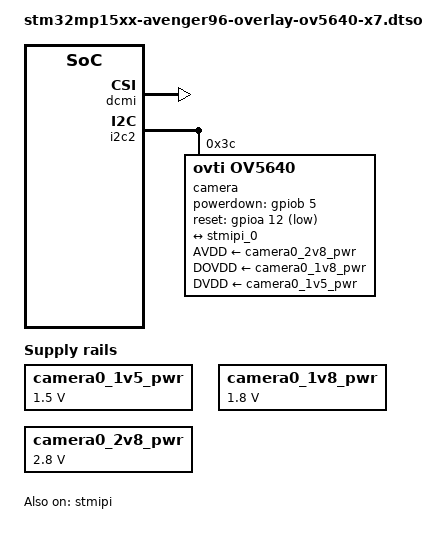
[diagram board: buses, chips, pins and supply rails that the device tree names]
// SPDX-License-Identifier: (GPL-2.0+ OR BSD-3-Clause)
/*
 * Copyright (C) 2020 Marek Vasut
 */
#include <dt-bindings/clock/stm32mp1-clks.h>
#include <dt-bindings/gpio/gpio.h>

/dts-v1/;
/plugin/;

&{/} {
	camera0_1v5_pwr: regulator-camera0-1v5 {
		compatible = "regulator-fixed";
		regulator-name = "camera0-1v5-reg";
		regulator-min-microvolt = <1500000>;
		regulator-max-microvolt = <1500000>;
		regulator-always-on;
	};

	camera0_1v8_pwr: regulator-camera0-1v8 {
		compatible = "regulator-fixed";
		regulator-name = "camera0-1v8-reg";
		regulator-min-microvolt = <1800000>;
		regulator-max-microvolt = <1800000>;
		regulator-always-on;
	};

	camera0_2v8_pwr: regulator-camera0-2v8 {
		compatible = "regulator-fixed";
		regulator-name = "camera0-2v8-reg";
		regulator-min-microvolt = <2800000>;
		regulator-max-microvolt = <2800000>;
		regulator-always-on;
	};
};

&dcmi {
	status = "okay";
};

&dcmi_0 {
	hsync-active = <0>;
	vsync-active = <0>;
	pclk-sample = <0>;
};

&i2c2 {
	#address-cells = <1>;
	#size-cells = <0>;

	camera@3c {
		compatible = "ovti,ov5640";
		reg = <0x3c>;
		clocks = <&rcc CK_MCO1>;
		clock-names = "xclk";
		pinctrl-names = "default", "sleep";
		pinctrl-0 = <&mco1_pins_a>;
		pinctrl-1 = <&mco1_sleep_pins_a>;
		assigned-clocks = <&rcc CK_MCO1>;
		assigned-clock-parents = <&rcc CK_HSE>;
		assigned-clock-rates = <24000000>;
		AVDD-supply = <&camera0_2v8_pwr>;
		DOVDD-supply = <&camera0_1v8_pwr>;
		DVDD-supply = <&camera0_1v5_pwr>;
		/* GPIO-J on the Dragonboard Dual-Leopard OV5640 board */
		powerdown-gpios = <&gpiob 5 GPIO_ACTIVE_HIGH>;
		/* GPIO-I on the Dragonboard Dual-Leopard OV5640 board */
		reset-gpios = <&gpioa 12 GPIO_ACTIVE_LOW>;
		rotation = <180>;
		status = "okay";

		port {
			ov5640_0: endpoint {
				remote-endpoint = <&stmipi_0>;
				clock-lanes = <0>;
				data-lanes = <1 2>;
			};
		};
	};
};

&stmipi {
	status = "okay";
};

&stmipi_0 {
	data-lanes = <1 2>;
	remote-endpoint = <&ov5640_0>;
};
